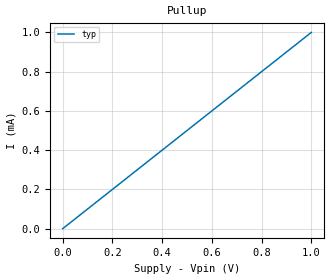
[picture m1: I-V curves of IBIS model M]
[IBIS Ver] 3.2
[Component] DEUX
[Package]
R_pkg 1 2 3
[Pin] signal_name model_name
1 A M
[Component] AUTRE
[Package]
R_pkg 9 9 9
[Pin]
2 B M
[Model] M
Model_type Output
[Ramp]
dV/dt_r NA 1/1n
| Models and submodels in the file (2): M (3-state), M (Output)
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[Model] M
Model_type 3-state
C_comp NA NA NA
[Voltage Range] NA NA NA
[Pullup]
0V        0A         NA         NA
1V        1mA        NA         NA
